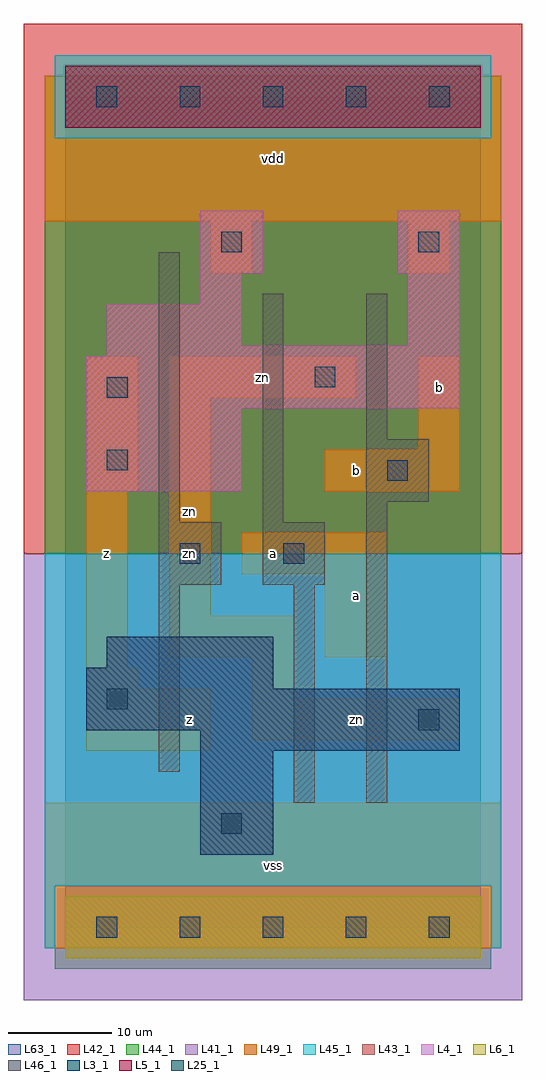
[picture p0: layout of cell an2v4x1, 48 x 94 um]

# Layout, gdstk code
import gdstk
lib = gdstk.Library(unit=1e-6, precision=1e-09)
def R(c, l, rs):  # rectangles x0, y0, x1, y1
    for r in rs: c.add(gdstk.rectangle(r[:2], r[2:], *l))
def A(c, l, x, y, w, h, nx, ny, dx, dy):  # array of equal rectangles
    R(c, l, [(x+i*dx, y+j*dy, x+i*dx+w, y+j*dy+h) for i in range(nx) for j in range(ny)])
L3_1 = (3, 1)
L4_1 = (4, 1)
L5_1 = (5, 1)
L6_1 = (6, 1)
L25_1 = (25, 1)
L41_1 = (41, 1)
L42_1 = (42, 1)
L43_1 = (43, 1)
L44_1 = (44, 1)
L45_1 = (45, 1)
L46_1 = (46, 1)
L49_1 = (49, 1)
L63_1 = (63, 1)

an2v4x1 = lib.new_cell('an2v4x1')
R(an2v4x1, L3_1, [(13,7,20,17), (13,17,38,19), (2,19,38,23), (2,23,20,25), (4,25,20,28)])
R(an2v4x1, L4_1, [(2,42,17,50), (2,50,38,55), (4,55,38,56), (4,56,17,60), (33,56,38,63), (13,60,17,63), (13,63,19,69), (32,63,38,69)])
R(an2v4x1, L5_1, [(0,77,40,83)])
R(an2v4x1, L6_1, [(0,-3,40,3), (0,-3,40,3)])
A(an2v4x1, L25_1, 3, -1, 2, 2, 5, 2, 8, 80)
R(an2v4x1, L25_1, [(15,9,17,11), (34,19,36,21), (4,21,6,23), (11,35,13,37), (21,35,23,37), (31,43,33,45), (4,44,6,46), (4,51,6,53), (24,52,26,54), (15,65,17,67), (34,65,36,67)])
R(an2v4x1, L41_1, [(-4,-7,44,36)])
R(an2v4x1, L42_1, [(-4,36,44,87)])
R(an2v4x1, L43_1, [(0,-3,40,3), (13,7,20,17), (13,17,38,19), (2,19,38,23), (2,23,20,25), (4,25,20,28), (2,42,17,50), (2,50,38,55), (4,55,38,56), (4,56,17,60), (33,56,38,63), (13,60,17,63), (13,63,19,69), (32,63,38,69), (0,77,40,83)])
R(an2v4x1, L44_1, [(-1,-4,41,4), (-2,36,42,76), (-2,76,-1,82), (41,76,42,82)])
R(an2v4x1, L45_1, [(-2,-2,-1,4), (41,-2,42,4), (-2,4,42,36), (-1,76,41,84)])
R(an2v4x1, L46_1, [(22,12,24,33), (29,12,31,41), (9,15,11,33), (9,33,15,39), (19,33,25,39), (9,39,11,65), (19,39,21,61), (29,41,35,47), (29,47,31,61)])
R(an2v4x1, L49_1, [(-2,-2,42,12), (2,17,14,23), (18,18,38,22), (18,22,22,26), (2,23,7,25), (2,25,6,42), (10,26,22,30), (25,26,31,34), (10,30,14,51), (17,34,31,38), (2,42,7,55), (25,42,38,46), (34,46,38,55), (10,51,28,55), (14,63,18,68), (33,63,37,68), (-2,68,42,82)])
R(an2v4x1, L63_1, [(0,0,40,80)])
an2v4x1.add(gdstk.Label('zn', (12,36), layer=49, texttype=1))
an2v4x1.add(gdstk.Label('z', (4,36), layer=49, texttype=1))
an2v4x1.add(gdstk.Label('z', (12,20), layer=49, texttype=1))
an2v4x1.add(gdstk.Label('zn', (12,40), layer=49, texttype=1))
an2v4x1.add(gdstk.Label('vss', (20,6), layer=49, texttype=1))
an2v4x1.add(gdstk.Label('a', (20,36), layer=49, texttype=1))
an2v4x1.add(gdstk.Label('a', (28,32), layer=49, texttype=1))
an2v4x1.add(gdstk.Label('b', (28,44), layer=49, texttype=1))
an2v4x1.add(gdstk.Label('zn', (19,53), layer=49, texttype=1))
an2v4x1.add(gdstk.Label('vdd', (20,74), layer=49, texttype=1))
an2v4x1.add(gdstk.Label('zn', (28,20), layer=49, texttype=1))
an2v4x1.add(gdstk.Label('b', (36,52), layer=49, texttype=1))

lib.write_gds('an2v4x1.gds')
